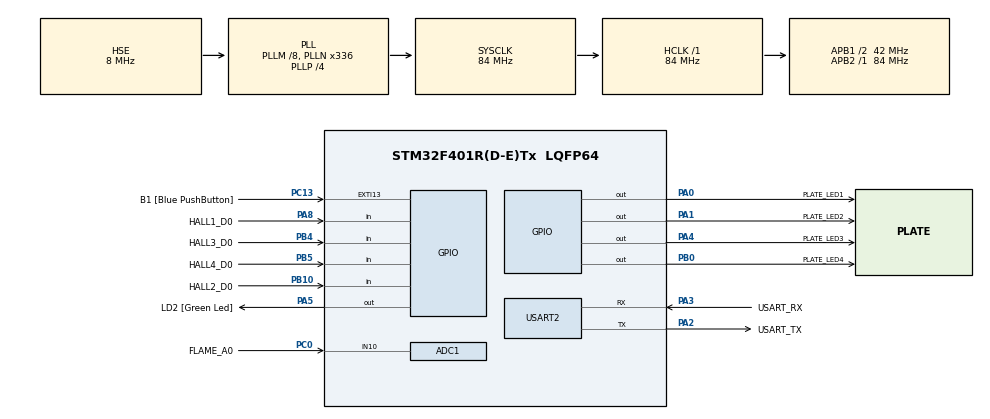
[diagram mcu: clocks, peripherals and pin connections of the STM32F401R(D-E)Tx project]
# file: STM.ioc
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ADC1.Channel-0\#ChannelRegularConversion=ADC_CHANNEL_10
ADC1.DMAContinuousRequests=ENABLE
ADC1.ExternalTrigConv=ADC_EXTERNALTRIGCONV_T2_TRGO
ADC1.NbrOfConversionFlag=1
ADC1.Rank-0\#ChannelRegularConversion=1
ADC1.SamplingTime-0\#ChannelRegularConversion=ADC_SAMPLETIME_480CYCLES
ADC1.master=1
Dma.ADC1.0.Direction=DMA_PERIPH_TO_MEMORY
Dma.ADC1.0.FIFOMode=DMA_FIFOMODE_DISABLE
Dma.ADC1.0.Instance=DMA2_Stream0
Dma.ADC1.0.MemDataAlignment=DMA_MDATAALIGN_HALFWORD
Dma.ADC1.0.MemInc=DMA_MINC_ENABLE
Dma.ADC1.0.Mode=DMA_CIRCULAR
Dma.ADC1.0.PeriphDataAlignment=DMA_PDATAALIGN_HALFWORD
Dma.ADC1.0.PeriphInc=DMA_PINC_DISABLE
Dma.ADC1.0.Priority=DMA_PRIORITY_LOW
Dma.Request0=ADC1
FREERTOS.Tasks01=defaultTask,24,128,StartDefaultTask,Default,NULL,Dynamic,NULL,NULL;TaskFlameSensor,24,256,StartTaskFlameSensor,Default,NULL,Dynamic,NULL,NULL;TaskHallSensor,24,128,StartTaskHallSensor,Default,NULL,Dynamic,NULL,NULL;TaskPacketTX,24,256,StartTaskPacketTX,Default,NULL,Dynamic,NULL,NULL
FREERTOS.configUSE_NEWLIB_REENTRANT=1
Mcu.Family=STM32F4
Mcu.Name=STM32F401R(D-E)Tx
Mcu.Package=LQFP64
NVIC.ADC_IRQn=true\:5\:0\:false\:false\:true\:true\:true\:true\:true
NVIC.DMA2_Stream0_IRQn=true\:5\:0\:false\:false\:true\:true\:false\:true\:true
NVIC.PriorityGroup=NVIC_PRIORITYGROUP_4
NVIC.TIM1_UP_TIM10_IRQn=true\:15\:0\:false\:false\:true\:false\:false\:true\:true
NVIC.TIM2_IRQn=true\:5\:0\:false\:false\:true\:true\:true\:true\:true
NVIC.TimeBase=TIM1_UP_TIM10_IRQn
NVIC.TimeBaseIP=TIM1
PA0-WKUP.GPIO_Label=PLATE_LED1
PA0-WKUP.Signal=GPIO_Output
PA1.GPIO_Label=PLATE_LED2
PA1.Signal=GPIO_Output
PA13.GPIO_Label=TMS
PA13.Mode=Serial_Wire
PA13.Signal=SYS_JTMS-SWDIO
PA14.GPIO_Label=TCK
PA14.Mode=Serial_Wire
PA14.Signal=SYS_JTCK-SWCLK
PA2.GPIO_Label=USART_TX
PA2.GPIO_Mode=GPIO_MODE_AF_PP
PA2.GPIO_PuPd=GPIO_NOPULL
PA2.GPIO_Speed=GPIO_SPEED_FREQ_LOW
PA2.Mode=Asynchronous
PA2.Signal=USART2_TX
PA3.GPIO_Label=USART_RX
PA3.GPIO_Mode=GPIO_MODE_AF_PP
PA3.GPIO_PuPd=GPIO_NOPULL
PA3.GPIO_Speed=GPIO_SPEED_FREQ_LOW
PA3.Mode=Asynchronous
PA3.Signal=USART2_RX
PA4.GPIO_Label=PLATE_LED3
PA4.Signal=GPIO_Output
PA5.GPIO_Label=LD2 [Green Led]
PA5.GPIO_Mode=GPIO_MODE_OUTPUT_PP
PA5.GPIO_PuPd=GPIO_NOPULL
PA5.GPIO_Speed=GPIO_SPEED_FREQ_LOW
PA5.Signal=GPIO_Output
PA8.GPIO_Label=HALL1_D0
PA8.GPIO_PuPd=GPIO_PULLUP
PA8.Signal=GPIO_Input
PB0.GPIO_Label=PLATE_LED4
PB0.Signal=GPIO_Output
PB10.GPIO_Label=HALL2_D0
PB10.GPIO_PuPd=GPIO_PULLUP
PB10.Signal=GPIO_Input
PB3.GPIO_Label=SWO
PB3.Signal=SYS_JTDO-SWO
PB4.GPIO_Label=HALL3_D0
PB4.GPIO_PuPd=GPIO_PULLUP
PB4.Signal=GPIO_Input
PB5.GPIO_Label=HALL4_D0
PB5.GPIO_PuPd=GPIO_PULLUP
PB5.Signal=GPIO_Input
PC0.GPIO_Label=FLAME_A0
PC0.Signal=ADCx_IN10
PC13-ANTI_TAMP.GPIO_Label=B1 [Blue PushButton]
PC13-ANTI_TAMP.GPIO_ModeDefaultEXTI=GPIO_MODE_IT_FALLING
PC13-ANTI_TAMP.GPIO_PuPd=GPIO_NOPULL
PC13-ANTI_TAMP.Signal=GPXTI13
PC14-OSC32_IN.Mode=LSE-External-Oscillator
PC14-OSC32_IN.Signal=RCC_OSC32_IN
PC15-OSC32_OUT.Mode=LSE-External-Oscillator
PC15-OSC32_OUT.Signal=RCC_OSC32_OUT
PH0\ -\ OSC_IN.Mode=HSE-External-Clock-Source
PH0\ -\ OSC_IN.Signal=RCC_OSC_IN
PH1\ -\ OSC_OUT.Mode=HSE-External-Clock-Source
PH1\ -\ OSC_OUT.Signal=RCC_OSC_OUT
ProjectManager.HeapSize=0x200
ProjectManager.StackSize=0x400
ProjectManager.TargetToolchain=STM32CubeIDE
RCC.48MHZClocksFreq_Value=48000000
RCC.AHBFreq_Value=84000000
RCC.APB1CLKDivider=RCC_HCLK_DIV2
RCC.APB1Freq_Value=42000000
RCC.APB1TimFreq_Value=84000000
RCC.APB2Freq_Value=84000000
RCC.APB2TimFreq_Value=84000000
RCC.CortexFreq_Value=84000000
RCC.HCLKFreq_Value=84000000
RCC.HSE_VALUE=8000000
RCC.HSI_VALUE=16000000
RCC.PLLM=8
RCC.PLLN=336
RCC.PLLP=RCC_PLLP_DIV4
RCC.PLLQ=7
RCC.PLLSourceVirtual=RCC_PLLSOURCE_HSE
RCC.SYSCLKFreq_VALUE=84000000
RCC.SYSCLKSource=RCC_SYSCLKSOURCE_PLLCLK
RCC.VCOOutputFreq_Value=336000000
SH.ADCx_IN10.0=ADC1_IN10,IN10
TIM2.Period=1049
TIM2.Prescaler=1249
TIM2.TIM_MasterOutputTrigger=TIM_TRGO_UPDATE
USART2.VirtualMode=VM_ASYNC
VP_FREERTOS_VS_CMSIS_V2.Mode=CMSIS_V2
VP_SYS_VS_tim1.Mode=TIM1
VP_TIM2_VS_ClockSourceINT.Mode=Internal
board=NUCLEO-F401RE

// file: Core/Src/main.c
/* USER CODE BEGIN Header */
/**
  ******************************************************************************
  * @file           : main.c
  * @brief          : Main program body
  ******************************************************************************
  * @attention
  *
  * Copyright (c) 2026 STMicroelectronics.
  * All rights reserved.
  *
  * This software is licensed under terms that can be found in the LICENSE file
  * in the root directory of this software component.
  * If no LICENSE file comes with this software, it is provided AS-IS.
  *
  ******************************************************************************
  */
/* USER CODE END Header */
#include "main.h"
#include "cmsis_os.h"
#include "adc.h"
#include "dma.h"
#include "tim.h"
#include "usart.h"
#include "gpio.h"

/* USER CODE BEGIN Includes */
#include <stdio.h>
#include "arm_math.h"
#include <stdlib.h>
#include "sensor_queue.h"
#include "sensor_protocol.h"
#include "alert_command.h"
#include "lora_e22.h"
#include "lora_frame.h"
/* USER CODE END Includes */

/* USER CODE BEGIN PV */
volatile uint32_t tim2_tick_count = 0;

#define ADC_BUF_SIZE 64
uint16_t adc_buf[ADC_BUF_SIZE];
/* USER CODE END PV */

void SystemClock_Config(void);
void MX_FREERTOS_Init(void);

/* USER CODE BEGIN 0 */
int __io_putchar(int ch)
{
    HAL_UART_Transmit(&huart2, (uint8_t*)&ch, 1, HAL_MAX_DELAY);
    return ch;
}

/* Fires (from ISR context) every time the circular DMA buffer wraps, i.e.
 * once per full 1-second/64-sample window. Just signals TaskFlameSensor -
 * no heavy work here since we're in an interrupt handler. */
void HAL_ADC_ConvCpltCallback(ADC_HandleTypeDef *hadc)
{
  if (hadc->Instance == ADC1)
  {
    osSemaphoreRelease(adcBufReadySemHandle);
  }
}

/* Fires (from ISR context) on either edge of any of the 4 hall D0 pins.
 * Same shape as HAL_ADC_ConvCpltCallback above: just wake TaskHallSensor,
 * no debouncing or UART work here. Which of the 4 slots changed isn't
 * tracked -- the task re-scans all 4 on wake, same as the old poll loop
 * did every tick. */
void HAL_GPIO_EXTI_Callback(uint16_t GPIO_Pin)
{
  if (GPIO_Pin == HALL1_D0_Pin || GPIO_Pin == HALL2_D0_Pin ||
      GPIO_Pin == HALL3_D0_Pin || GPIO_Pin == HALL4_D0_Pin)
  {
    osSemaphoreRelease(hallEdgeSemHandle);
  }
}

/* Fires (from ISR context) once per received USART2 byte -- the link runs
 * one-byte-at-a-time interrupt mode (see AlertCommand_StartReceive()), not
 * DMA, since AlertCommand traffic is short and infrequent. All the actual
 * buffering/parsing is delegated to alert_command.c; this callback only
 * exists because HAL_UART_RxCpltCallback has to live somewhere, same as
 * HAL_ADC_ConvCpltCallback and HAL_GPIO_EXTI_Callback above. */
void HAL_UART_RxCpltCallback(UART_HandleTypeDef *huart)
{
  if (huart->Instance == USART2)
  {
    AlertCommand_OnByteReceived();
  }
  else if (huart->Instance == USART1)
  {
    /* LoRa 하행. 여기서는 링버퍼에 넣기만 하고, 프레임 조립과 CRC 검증은
     * StartDefaultTask 가 태스크 문맥에서 한다 -- USART2 경로가 파싱을
     * 태스크로 미루는 것과 같은 이유다. */
    LoRa_OnByteReceived();
  }
}

/* 수신 에러(주로 오버런/프레이밍)가 나면 HAL 은 수신을 중단하고 *재무장하지
 * 않는다.* 그대로 두면 그 순간부터 하행이 조용히 죽는다 -- 로그도 안 남고
 * 송신은 멀쩡해서 원인을 찾기 어렵다. 여기서 다시 걸어준다.
 *
 * 오버런은 인터럽트가 잠깐 지연되면(예: 송신 중 스케줄러 정지 구간) 실제로
 * 발생한다. 이 콜백이 없으면 몇 시간 안에 반드시 겪는다. */
void HAL_UART_ErrorCallback(UART_HandleTypeDef *huart)
{
  if (huart->Instance == USART2)
  {
    __HAL_UART_CLEAR_OREFLAG(huart);
    AlertCommand_StartReceive();
  }
  else if (huart->Instance == USART1)
  {
    __HAL_UART_CLEAR_OREFLAG(huart);
    LoRa_StartReceiveIT();
  }
}
/* USER CODE END 0 */

int main(void)
{

  /* MCU Configuration--------------------------------------------------------*/

  /* Reset of all peripherals, Initializes the Flash interface and the Systick. */
  HAL_Init();

  /* Configure the system clock */
  SystemClock_Config();

  /* Initialize all configured peripherals */
  MX_GPIO_Init();
  MX_DMA_Init();
  MX_ADC1_Init();
  MX_USART2_UART_Init();
  MX_TIM2_Init();
  /* USER CODE BEGIN 2 */
#if LORA_BURN_MODULE
  /* Pi 쪽 모듈처럼 MCU 없이 동작할 모듈을 준비하는 전용 모드.
   * 굽고 확인한 뒤 여기서 멈춘다 -- 센서 노드로 동작하지 않으므로 이 모드를
   * 켜둔 채 잊어버려도 바로 알아차릴 수 있다. */
  LoRa_Init();
  printf("\r\n");
  printf("##################################################\r\n");
  printf("#  LORA BURN MODE -- 센서 동작 안 함              \r\n");
  printf("#  주소 0x%04X / NETID 0x%02X                     \r\n",
         (unsigned)LORA_BURN_ADDRESS, (unsigned)LORA_BURN_NETID);
  printf("#  ch=%u / 10dBm / LBT on / 62.5k / 115200        \r\n",
         (unsigned)LORA_CH_DATA_DEFAULT);
  printf("#  C0(영구 저장) -- 전원 끊어도 유지됨            \r\n");
  printf("##################################################\r\n");

  {
    HAL_StatusTypeDef burn_st = LoRa_BurnModule(LORA_BURN_ADDRESS, LORA_BURN_NETID);

    if (burn_st == HAL_OK)
    {
      printf("\r\n[burn] 완료. 되읽기 대조까지 통과했습니다.\r\n");
      LoRa_SelfTest();   /* 최종 상태를 디코드해서 한 번 더 남긴다 */
      printf("\r\n이 모듈을 대상 보드로 옮기고, LORA_BURN_MODULE 을 0 으로\r\n");
      printf("되돌린 뒤 재빌드하세요.\r\n");
    }
    else
    {
      printf("\r\n[burn] 실패. 모듈을 옮기지 마세요.\r\n");
      printf("배선(모듈TXD->PA10 / 모듈RXD->PA9 / M0->PC7 / M1->PB6 / AUX->PA7 / 3V3 / GND) 확인 후 재시도.\r\n");
    }

    /* 센서 동작으로 넘어가지 않는다. LED 로 결과를 표시하며 정지:
     * 느린 깜빡임 = 성공, 빠른 깜빡임 = 실패. */
    for (;;)
    {
      HAL_GPIO_TogglePin(LD2_GPIO_Port, LD2_Pin);
      HAL_Delay((burn_st == HAL_OK) ? 1000 : 150);
    }
  }
#endif

  /* 빌드 배너.
   *
   * 플래시가 실제로 새 빌드로 갈렸는지 로그만 보고는 알 수 없어서, 옛 펌웨어를
   * 돌리며 "왜 새 기능이 안 보이지" 를 몇 번 반복했다. 부팅할 때마다 빌드
   * 시각과 켜져 있는 기능을 찍어두면 그 혼선이 사라진다. */
  printf("\r\n======================================================\r\n");
  /* 보드 이름은 하드코딩하지 않는다. STM1/STM2 펌웨어가 같은 코드라
   * 여기가 고정이면 두 보드가 똑같은 이름으로 찍혀서, 어느 쪽 로그를 보고
   * 있는지 헷갈린다. 콘솔이 두 개 열려 있을 때 특히 위험하다. */
  printf("# %s  build %s %s\r\n", SENSOR_NODE_ID, __DATE__, __TIME__);
  printf("# payload v1.1 (frame ver 0x%02X) / node %s\r\n",
         (unsigned)LORA_FRAME_VERSION, SENSOR_NODE_ID);
  printf("# TX  uart=%d lora=%d   LoRa ch=%u pwr=10dBm lbt=%d\r\n",
         SENSOR_TX_UART, SENSOR_TX_LORA,
         (unsigned)LORA_CH_DATA_DEFAULT, LORA_LBT_ENABLE);
  printf("# 홀 쿨다운 %lums / 화재 텔레메트리 %lums\r\n",
         (unsigned long)SENSOR_HALL_COOLDOWN_MS,
         (unsigned long)SENSOR_FLAME_TELEMETRY_MS);
  printf("======================================================\r\n");

#if SENSOR_TX_LORA
  /* USART1(PA9/PA10)과 M0/M1/AUX(PC7/PB6/PA7) 초기화를 드라이버가 직접 하므로
   * .ioc 를 건드리지 않는다 -- CubeMX 재생성에도 안전하다.
   * 채널/출력/LBT 는 C0 명령으로 모듈에 영구 저장되어 있지만, 다른 모듈로
   * 교체했을 때를 대비해 부팅할 때마다 한 번 더 맞춰준다.
   * 주의: LoRa_SelfTest()/LoRa_Diag() 는 printf 로 USART2 에 찍는데 그건
   * Pi 데이터 링크라 프로토콜을 오염시킨다. 브링업 때만 임시로 켤 것. */
  LoRa_Init();
  /* persist=false(C2) 로 매 부팅마다 맞춘다. C0 는 모듈 플래시에 쓰는 거라
   * 부팅마다 때리면 수명을 깎는다. STM32 가 붙어 있는 쪽은 어차피 매번
   * 설정하므로 임시 저장으로 충분하다.
   * !! Pi 쪽 모듈은 MCU 가 없어서 스스로 설정하지 못한다. 그 모듈은 이
   *    보드에 잠깐 물려서 persist=true 로 한 번 구워서 넘겨야 한다. */
  {
    HAL_StatusTypeDef lora_st =
        /* LBT 는 KC 기술기준 항목이라 켜둔다. 브링업 중 링크가 안 붙을 때
         * 잠깐 false 로 내려 원인에서 배제하는 데 썼는데, 진단이 끝났으므로
         * 되돌렸다. LBT 가 송신을 미뤄도 STM32 에 알려주지는 않으므로,
         * "LORA OK" 는 UART 로 넘겼다는 뜻이지 전파가 나갔다는 보장은 아니다. */
        LoRa_ConfigureFull(LORA_CH_DATA_DEFAULT, LORA_PWR_10DBM, LORA_LBT_ENABLE,
                           LORA_AIR_PROJECT, LORA_UART_PROJECT, false);
    /* 이 두 줄은 디버그 플래그와 무관하게 항상 찍는다.
     *
     * 설정 확인에 실패하면 전파법 인터록이 송신을 전부 막는데, 그때 수신은
     * 계속 된다 -- 모듈이 저장된 설정으로 동작하기 때문이다. 그래서 겉보기엔
     * "명령은 받는데 갑자기 송신만 안 되는" 상태가 되고, 로그가 없으면
     * 원인을 짚을 수가 없다. 실제로 그 상황을 겪었다.
     *
     * 부팅 때 한 번 나가는 몇 줄이라 비용이 없다. */
    printf("\r\n# LORA CFG %s (ch=%u pwr=10dBm lbt=%d air=62.5k uart=115200)\r\n",
           (lora_st == HAL_OK) ? "OK" : "FAIL -- 송신 차단됨(인터록)",
           (unsigned)LORA_CH_DATA_DEFAULT, LORA_LBT_ENABLE);
    if (lora_st == HAL_OK) { LoRa_DumpRegisters(); }

    /* AUX 상태. 설정이 멀쩡한데 송신만 안 될 때 남은 후보가 이것이다.
     *
     * AUX 가 GND 로 눌려 있으면 모듈이 영원히 "바쁨" 으로 읽혀서, 매 송신마다
     * LoRa_WaitAuxIdle() 이 타임아웃(2초)을 다 쓰고 나간다. 로그상 송신은
     * 시도되는데 실제로는 거의 안 나가는 것처럼 보인다.
     *
     * 지금 레벨이 LOW 인데 모듈이 idle 이어야 할 상황이면 배선을 의심할 것.
     * detected=no 는 배선이 아예 안 붙었다는 뜻이고, 그 경우는 풀업 덕분에
     * 항상 HIGH 로 읽혀 동작에는 지장이 없다. */
    printf("# LORA AUX: level=%s  detected=%s  (PA7/D11)\r\n",
           (HAL_GPIO_ReadPin(LORA_AUX_GPIO_Port, LORA_AUX_Pin) == GPIO_PIN_SET)
               ? "HIGH(idle)" : "LOW(busy)",
           LoRa_AuxDetected() ? "yes" : "no");

#if LORA_DEBUG_HEX
    if (lora_st == HAL_OK) { LoRa_CheckNormalMode(); }
#endif
    if (lora_st != HAL_OK)
    {
      /* 설정이 안 먹었으면 어디서 막혔는지 자동으로 훑는다. 라인 프로브 ->
       * 단락 검사 -> baud 스윕 -> USART 우회 비트뱅잉 순서. 지그에서 E22 를
       * E220 으로 착각해 딥슬립에 빠뜨렸던 그 상황을 잡으려고 만든 루틴이다. */
      LoRa_SelfTest();
      LoRa_CheckNormalMode();
      LoRa_DetectVariant();
      LoRa_Diag();
    }
  }
#endif
  /* USER CODE END 2 */

  /* Init scheduler */
  osKernelInitialize();  /* Call init function for freertos objects (in freertos.c) */
  MX_FREERTOS_Init();

  /* USER CODE BEGIN RTOS_PERIPH_START */
  /* adcBufReadySemHandle must exist before conversions can start firing the callback */
  HAL_TIM_Base_Start_IT(&htim2);
  HAL_ADC_Start_DMA(&hadc1, (uint32_t*)adc_buf, ADC_BUF_SIZE);
  /* AlertCommand_Init() (freertos.c, RTOS_TIMERS above) already created the
   * semaphore/timers a received line needs, so it's safe to start taking
   * bytes now. */
  /* 태스크/큐/타이머가 전부 만들어진 뒤라야 힙 사용량이 의미가 있다.
   * 배너(위 USER CODE 2)에서 찍으면 아직 할당이 한 번도 없어 heap_4 가
   * 초기화되기 전이라 항상 0 이 나온다 -- 실제로 그걸로 한 번 오해했다. */
  printf("# FreeRTOS 힙 여유 %u / %u B (태스크 생성 후)\r\n",
         (unsigned)xPortGetFreeHeapSize(), (unsigned)configTOTAL_HEAP_SIZE);

  AlertCommand_StartReceive();

#if SENSOR_TX_LORA
  /* LoRa 인터럽트 수신 시작.
   *
   * 반드시 LoRa_ConfigureFull() 이 끝난 뒤여야 한다. 설정 모드는 블로킹
   * 수신(HAL_UART_Receive)을 쓰는데, 인터럽트 수신이 먼저 걸려 있으면
   * 같은 UART 를 두 방식이 다투게 되어 레지스터 응답을 놓친다.
   *
   * 이후로 STM1 은 항상 듣는 상태가 된다 -- Pi 가 언제 명령을 보내도
   * 받는다. 조립/CRC 검증은 StartDefaultTask 가 태스크 문맥에서 한다. */
  LoRa_StartReceiveIT();
#endif
  /* USER CODE END RTOS_PERIPH_START */

  /* Start scheduler */
  osKernelStart();

  /* We should never get here as control is now taken by the scheduler */
  /* Infinite loop */
  while (1)
  {

  }
}

void SystemClock_Config(void)
{
  RCC_OscInitTypeDef RCC_OscInitStruct = {0};
  RCC_ClkInitTypeDef RCC_ClkInitStruct = {0};

  /** Configure the main internal regulator output voltage
  */
  __HAL_RCC_PWR_CLK_ENABLE();
  __HAL_PWR_VOLTAGESCALING_CONFIG(PWR_REGULATOR_VOLTAGE_SCALE2);

  /** Initializes the RCC Oscillators according to the specified parameters
  * in the RCC_OscInitTypeDef structure.
  */
  /* BYPASS not Crystal: on this Nucleo board HSE comes from the ST-Link's
   * 8MHz MCO into PH0, there's no resonator on OSC_IN/OSC_OUT.
   * PLLM=8 -> 8MHz/8=1MHz VCO input, same as before; PLLN/PLLP unchanged so
   * SYSCLK is still 84MHz and TIM2's 64Hz math doesn't need to change. */
  RCC_OscInitStruct.OscillatorType = RCC_OSCILLATORTYPE_HSE;
  RCC_OscInitStruct.HSEState = RCC_HSE_BYPASS;
  RCC_OscInitStruct.PLL.PLLState = RCC_PLL_ON;
  RCC_OscInitStruct.PLL.PLLSource = RCC_PLLSOURCE_HSE;
  RCC_OscInitStruct.PLL.PLLM = 8;
  RCC_OscInitStruct.PLL.PLLN = 336;
  RCC_OscInitStruct.PLL.PLLP = RCC_PLLP_DIV4;
  RCC_OscInitStruct.PLL.PLLQ = 7;
  if (HAL_RCC_OscConfig(&RCC_OscInitStruct) != HAL_OK)
  {
    Error_Handler();
  }

  /** Initializes the CPU, AHB and APB buses clocks
  */
  RCC_ClkInitStruct.ClockType = RCC_CLOCKTYPE_HCLK|RCC_CLOCKTYPE_SYSCLK
                              |RCC_CLOCKTYPE_PCLK1|RCC_CLOCKTYPE_PCLK2;
  RCC_ClkInitStruct.SYSCLKSource = RCC_SYSCLKSOURCE_PLLCLK;
  RCC_ClkInitStruct.AHBCLKDivider = RCC_SYSCLK_DIV1;
  RCC_ClkInitStruct.APB1CLKDivider = RCC_HCLK_DIV2;
  RCC_ClkInitStruct.APB2CLKDivider = RCC_HCLK_DIV1;

  if (HAL_RCC_ClockConfig(&RCC_ClkInitStruct, FLASH_LATENCY_2) != HAL_OK)
  {
    Error_Handler();
  }
}

void HAL_TIM_PeriodElapsedCallback(TIM_HandleTypeDef *htim)
{
  if (htim->Instance == TIM1) {
    HAL_IncTick();
  }
  /* USER CODE BEGIN Callback 1 */
  if (htim->Instance == TIM2)
  {
      tim2_tick_count++;
  }
  /* USER CODE END Callback 1 */
}

void Error_Handler(void)
{
  __disable_irq();
  while (1)
  {
  }
}

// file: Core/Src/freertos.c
/* USER CODE BEGIN Header */
/**
  ******************************************************************************
  * File Name          : freertos.c
  * Description        : Code for freertos applications
  ******************************************************************************
  * @attention
  *
  * Copyright (c) 2026 STMicroelectronics.
  * All rights reserved.
  *
  * This software is licensed under terms that can be found in the LICENSE file
  * in the root directory of this software component.
  * If no LICENSE file comes with this software, it is provided AS-IS.
  *
  ******************************************************************************
  */
/* USER CODE END Header */

#include "FreeRTOS.h"
#include "task.h"
#include "main.h"
#include "cmsis_os.h"

/* USER CODE BEGIN Includes */
#include <stdio.h>
#include "arm_math.h"
#include "arm_const_structs.h"
#include "sensor_queue.h"
#include "sensor_protocol.h"
#include "alert_command.h"
#include "lora_e22.h"
#include "lora_frame.h"
#include "usart.h"    /* huart2 -- vApplicationStackOverflowHook */
#include <string.h>
/* USER CODE END Includes */

/* USER CODE BEGIN Variables */
extern volatile uint32_t tim2_tick_count;
extern uint16_t adc_buf[64];

/* Shared mailbox: TaskHallSensor/TaskFlameSensor push SensorEvent_t here,
 * TaskPacketTX pops and sends them over UART. One queue instead of a
 * mutex-protected struct so producers/consumer stay naturally serialized. */
osMessageQueueId_t sensorEventQueueHandle;
const osMessageQueueAttr_t sensorEventQueue_attributes = {
  .name = "sensorEventQueue"
};

/* Released by HAL_ADC_ConvCpltCallback (main.c) each time the circular DMA
 * buffer finishes one full 1-second window, so TaskFlameSensor knows when
 * adc_buf is safe to read without racing the next DMA write. */
osSemaphoreId_t adcBufReadySemHandle;
const osSemaphoreAttr_t adcBufReadySem_attributes = {
  .name = "adcBufReadySem"
};

/* Released by HAL_GPIO_EXTI_Callback (main.c) on either edge of any of the
 * 4 hall D0 pins, so TaskHallSensor can block instead of polling every
 * 50ms -- same shape as adcBufReadySemHandle above. */
osSemaphoreId_t hallEdgeSemHandle;
const osSemaphoreAttr_t hallEdgeSem_attributes = {
  .name = "hallEdgeSem"
};

/* Hall debounce state, kept at file scope (was local to
 * StartTaskHallSensor) so the confirmed value and the last-reported value
 * can be compared across wakes. */
static uint8_t hall_debounced_state[SENSOR_HALL_COUNT] = {0};
static uint8_t hall_candidate_state[SENSOR_HALL_COUNT] = {0};
static uint32_t hall_stable_count[SENSOR_HALL_COUNT] = {0};
/* Last state actually put on the wire per slot -- lets TaskHallSensor emit
 * only on a confirmed change instead of a fixed cadence, same as
 * TaskFlameSensor's last_verdict. */
static uint8_t hall_last_reported_state[SENSOR_HALL_COUNT] = {0};

/* 채널별 쿨다운 상태 (SENSOR_HALL_COOLDOWN_MS).
 *
 * 첫 변화는 즉시 나가고, 그 뒤 쿨다운 동안 생긴 변화는 버리지 않고 pending
 * 으로 표시만 해둔다. 쿨다운이 끝나면 그때의 *최신* 상태를 한 번 보낸다.
 * 그래서 채터링이 나도 프레임 수가 늘지 않고, 수신측 상태는 늦어도 쿨다운
 * 시간 안에 반드시 맞아진다.
 *
 * 이게 없으면 채터링 시 duty 리미터가 프레임을 버리는데, 버려진 게 상태
 * 변화면 수신측은 다음 하트비트(SENSOR_HEARTBEAT_MS)까지 틀린 상태를 든다. */
static uint32_t hall_last_sent_tick[SENSOR_HALL_COUNT] = {0};
static uint8_t  hall_sent_once[SENSOR_HALL_COUNT] = {0};
static uint8_t  hall_pending[SENSOR_HALL_COUNT] = {0};

/* Fires every 30s regardless of GPIO activity: resends whatever
 * hall_debounced_state currently holds, purely as a liveness signal. Edge
 * changes are still reported instantly by TaskHallSensor above -- this
 * timer exists only so the Pi side can tell "nothing changed in a while"
 * apart from "the STM32/UART link died", which pure on-change reporting
 * can't distinguish. The Pi's duplicate/stale-sequence guard already
 * treats repeats as safe, so re-sending unchanged state here is fine. */
osTimerId_t hallHeartbeatTimerHandle;
const osTimerAttr_t hallHeartbeatTimer_attributes = {
  .name = "hallHeartbeatTimer"
};

/* Last verdict actually put on the wire by TaskFlameSensor, and whether the
 * boot-time baseline/first verdict has been recorded yet. Moved out of
 * StartTaskFlameSensor's locals (was last_verdict/verdict_seeded) so
 * FlameHeartbeatTimerCallback below can read the current value too. */
static uint8_t flame_last_verdict = 0;
static uint8_t flame_verdict_seeded = 0;
/* 마지막으로 계산한 1~20Hz 대역 에너지. v1.1 부터 전선에 실려 나가므로
 * 하트비트/텔레메트리에서도 이 값을 쓴다. */
static float   flame_last_energy = 0.0f;

/* Same idea as hallHeartbeatTimerHandle: every 30s, resend the last flame
 * verdict regardless of change, purely as a liveness signal. Actual
 * ALERT/CLEAR transitions are still reported instantly by
 * TaskFlameSensor. Guarded on flame_verdict_seeded so it can't fire before
 * the boot baseline is established (see FLAME_SETTLE_WINDOWS below). */
osTimerId_t flameHeartbeatTimerHandle;
const osTimerAttr_t flameHeartbeatTimer_attributes = {
  .name = "flameHeartbeatTimer"
};
/* USER CODE END Variables */
/* Definitions for defaultTask */
osThreadId_t defaultTaskHandle;
const osThreadAttr_t defaultTask_attributes = {
  .name = "defaultTask",
  /* LoRa 하행 펌프 + 진단 printf 가 여기서 돈다. 128*4(512B)로는 printf
   * 하나에 스택이 넘친다 -- newlib 의 포맷 파싱만으로 200~300B 를 쓴다.
   * 넘치면 vApplicationStackOverflowHook -> Error_Handler() 무한루프라
   * 로그가 뚝 끊기고 원인이 안 보인다. 실제로 그 증상을 겪었다. */
  .stack_size = 512 * 4,
  .priority = (osPriority_t) osPriorityNormal,
};
/* Definitions for TaskFlameSensor */
osThreadId_t TaskFlameSensorHandle;
const osThreadAttr_t TaskFlameSensor_attributes = {
  .name = "TaskFlameSensor",
  .stack_size = 512 * 4, /* FFT buffers alone use ~700B of stack (see .su); 256*4 left almost no margin */
  .priority = (osPriority_t) osPriorityNormal,
};
/* Definitions for TaskHallSensor */
osThreadId_t TaskHallSensorHandle;
const osThreadAttr_t TaskHallSensor_attributes = {
  .name = "TaskHallSensor",
  .stack_size = 128 * 4,
  .priority = (osPriority_t) osPriorityNormal,
};
/* Definitions for TaskPacketTX */
osThreadId_t TaskPacketTXHandle;
const osThreadAttr_t TaskPacketTX_attributes = {
  .name = "TaskPacketTX",
  .stack_size = 256 * 4,
  .priority = (osPriority_t) osPriorityNormal,
};
/* Definitions for TaskCommandRX (EVDA-194: receives the Pi's plate-LED
 * AlertCommand lines, see alert_command.c). Stack is small on purpose --
 * AlertCommand_Task() only does short string parsing and a couple of HAL/
 * RTOS calls per wake, nothing like TaskFlameSensor's FFT buffers. */
osThreadId_t TaskCommandRXHandle;
const osThreadAttr_t TaskCommandRX_attributes = {
  .name = "TaskCommandRX",
  /* 원래는 짧은 문자열 파싱 + HAL/RTOS 호출 몇 개뿐이라 128*4 로 충분했는데,
   * 명령 수락/거부 진단 로그(printf)가 붙으면서 부족해졌다. defaultTask 와
   * 같은 이유다 -- 위 주석 참고. */
  .stack_size = 384 * 4,
  .priority = (osPriority_t) osPriorityNormal,
};

/* USER CODE BEGIN FunctionPrototypes */
static void HallHeartbeatTimerCallback(void *argument);
static void FlameHeartbeatTimerCallback(void *argument);
static void HallEmitIfAllowed(uint8_t ch);
/* USER CODE END FunctionPrototypes */

void StartDefaultTask(void *argument);
void StartTaskFlameSensor(void *argument);
void StartTaskHallSensor(void *argument);
void StartTaskPacketTX(void *argument);
void StartTaskCommandRX(void *argument);

void MX_FREERTOS_Init(void); /* (MISRA C 2004 rule 8.1) */

void MX_FREERTOS_Init(void) {

  /* USER CODE BEGIN RTOS_SEMAPHORES */
  adcBufReadySemHandle = osSemaphoreNew(1, 0, &adcBufReadySem_attributes);
  hallEdgeSemHandle = osSemaphoreNew(1, 0, &hallEdgeSem_attributes);
  /* USER CODE END RTOS_SEMAPHORES */

  /* USER CODE BEGIN RTOS_TIMERS */
  hallHeartbeatTimerHandle = osTimerNew(HallHeartbeatTimerCallback, osTimerPeriodic, NULL, &hallHeartbeatTimer_attributes);
  /* 시작은 StartDefaultTask 에서 한다. 노드별로 반 주기 어긋내야 하는데
   * 여기는 스케줄러가 아직 안 돌아서 osDelay 를 쓸 수 없다. */

#if SENSOR_HAS_FLAME
  flameHeartbeatTimerHandle = osTimerNew(FlameHeartbeatTimerCallback, osTimerPeriodic, NULL, &flameHeartbeatTimer_attributes);
  /* 5초 주기로 돌지만 CLEARED 상태에서는 SENSOR_HEARTBEAT_MS 마다만 보낸다.
   * DETECTED 인 동안에만 5초 간격 텔레메트리가 된다 -- 콜백 주석 참고. */
  osTimerStart(flameHeartbeatTimerHandle, SENSOR_FLAME_TELEMETRY_MS);
#endif

  /* Creates the line-ready semaphore and the 4 per-LED failsafe one-shot
   * timers. Grouped here (not a separate RTOS_SEMAPHORES entry) because
   * AlertCommand owns both and creates them together; see alert_command.c.
   * Must run before AlertCommand_StartReceive() (main.c,
   * RTOS_PERIPH_START) so a line can never arrive before these objects
   * exist. */
  AlertCommand_Init();
  /* USER CODE END RTOS_TIMERS */

  /* USER CODE BEGIN RTOS_QUEUES */
  sensorEventQueueHandle = osMessageQueueNew(8, sizeof(SensorEvent_t), &sensorEventQueue_attributes);
  /* USER CODE END RTOS_QUEUES */

  /* NOTE: CubeMX 2.2.0 has a recurring bug where regenerating FreeRTOS code
   * wipes the 4 osThreadNew(...) calls below and replaces them with an empty
   * header comment block. If you regenerate from the .ioc, check this
   * function and restore these lines if they're missing. */
  /* Create the thread(s) */
  defaultTaskHandle = osThreadNew(StartDefaultTask, NULL, &defaultTask_attributes);
#if SENSOR_HAS_FLAME
  /* 화재센서가 없는 보드(STM2)에서는 태스크를 아예 만들지 않는다. FFT 버퍼
   * 때문에 스택이 2KB라, 안 쓰면서 잡아두면 힙만 축낸다. */
  TaskFlameSensorHandle = osThreadNew(StartTaskFlameSensor, NULL, &TaskFlameSensor_attributes);
#endif
  TaskHallSensorHandle = osThreadNew(StartTaskHallSensor, NULL, &TaskHallSensor_attributes);
  TaskPacketTXHandle = osThreadNew(StartTaskPacketTX, NULL, &TaskPacketTX_attributes);
  TaskCommandRXHandle = osThreadNew(StartTaskCommandRX, NULL, &TaskCommandRX_attributes);

}

void StartDefaultTask(void *argument)
{
  /* USER CODE BEGIN StartDefaultTask */
  /* 홀 하트비트 타이머는 여기서 건다.
   *
   * 두 보드를 같이 켜면 하트비트가 정렬돼서 매 주기 같은 시점에 충돌한다.
   * LoRa 는 half-duplex 라 그러면 한쪽이 계속 지는 형태가 될 수 있고,
   * 그건 확률적 충돌보다 나쁘다 -- 특정 노드만 만성적으로 유실된다.
   * 노드별로 반 주기 어긋내면 그 상황이 구조적으로 안 생긴다.
   *
   * MX_FREERTOS_Init 에서 못 하는 이유는 그 시점에 스케줄러가 아직
   * 시작되지 않아 osDelay 가 동작하지 않기 때문이다. */
#if SENSOR_HEARTBEAT_STAGGER_MS > 0
  osDelay(SENSOR_HEARTBEAT_STAGGER_MS);
#endif
  osTimerStart(hallHeartbeatTimerHandle, SENSOR_HEARTBEAT_MS);

#if SENSOR_TX_LORA
  /* LoRa 하행 펌프.
   *
   * USART1 인터럽트가 바이트를 링버퍼에 넣고(lora_e22.c), 여기서 꺼내
   * 프레임으로 조립한다. CRC 까지 통과한 payload 만 명령 파서로 넘긴다.
   *
   * 예전에는 이 자리에서 LoRa_Recv() 블로킹 폴링을 돌렸는데, 그건 부르는
   * 동안에만 듣는 구조라 호출 사이에 온 바이트가 사라졌고(Pi PING 5개 중
   * 2개 유실) yield 도 하지 않아 CPU 를 계속 태웠다. 이제는 ISR 이 항상
   * 듣고 있으므로 여기서는 10ms 마다 훑기만 하면 된다 -- 명령 지연으로는
   * 무시할 수준이고, 그 사이 도착분은 링버퍼가 받아둔다.
   *
   * 명령 파서는 USART2 경로와 공유한다(alert_command.c). 즉 Pi 는 LoRa 로,
   * 사람은 PuTTY 로 같은 명령을 넣을 수 있다. */
  static char lora_line[LORA_FRAME_MAX_PAYLOAD + 1];
  for (;;)
  {
    uint8_t  type = 0;
    uint32_t seq = 0;
    uint16_t n = LoRaFrame_Poll(lora_line, sizeof(lora_line), &type, &seq);

    if (n == 0)
    {
      /* 수신이 꺼져 있으면 되살린다. 정상일 때는 아무 일도 안 한다. */
      if (LoRa_EnsureReceiving())
      {
        printf("# [%8lu] LORA RX 재무장 (누적 %lu회, 링버퍼 유실 %lu B)\r\n",
               (unsigned long)HAL_GetTick(),
               (unsigned long)LoRa_GetRxRearmCount(),
               (unsigned long)LoRa_GetRxOverrunCount());
      }
      osDelay(10);
      continue;
    }

#if LORA_DEBUG_RX
    printf("# [%8lu] LORA RX type=0x%02X seq=%lu: %s\r\n",
           (unsigned long)HAL_GetTick(), (unsigned)type,
           (unsigned long)seq, lora_line);
#endif

    /* 알 수 없는 줄은 파서가 조용히 무시하므로 타입으로 미리 거르지 않는다.
     * 그래야 Pi 쪽에서 형식을 바꿔도 로그로는 보인다. */
    AlertCommand_SubmitLine(lora_line, n);
  }
#else
  /* Infinite loop */
  for(;;)
  {
    osDelay(1000);
  }
#endif
  /* USER CODE END StartDefaultTask */
}

void StartTaskFlameSensor(void *argument)
{
  /* USER CODE BEGIN StartTaskFlameSensor */
  /* 64 samples @ 64Hz = 1 second window -> 1Hz per FFT bin, matching the
   * 1~20Hz flame-flicker band we care about. */
  #define FFT_SIZE 64
  /* 화재 판정: raw DC 절대 임계 하나.
   *
   * 적응형 baseline 방식을 버렸다. 두 번 실패했다:
   *   1) 부팅 때 한 번 잡고 고정 -- 주변광이 그 뒤로 달라지면 영구 오검출
   *   2) 깨끗한 창에서만 추종  -- 임계를 한번 넘으면 추종이 멈춰 스스로
   *      빠져나올 수 없다. 실측에서 부팅 약 60초 뒤 DETECTED 로 잠겼고
   *      돌아오지 않았다(2026-08-28 로그).
   *
   * ★ 근본 원인은 판정 방식이 아니라 낡은 기준값이었다.
   *
   *   ambient (2026-07-30 문서)     46 ~   69
   *   ambient (2026-08-28 실측)   1220 ~ 1401
   *
   * 20배 차이다. 센서 감도(VR1)나 설치 환경이 그 사이에 달라졌다.
   * FLAME_DELTA_THRESHOLD 300 은 ambient 46~69 일 때 드리프트의 13배로
   * 잡은 값인데, ambient 가 1300 이고 자체 변동폭이 180 인 지금은 baseline
   * 이 낮은 쪽에 걸리기만 해도 정상 변동만으로 300 을 넘는다. 부팅 60초 뒤
   * 잠긴 원인이 이것이다. FLAME_ENERGY_THRESHOLD 5.0 도 마찬가지로,
   * 같은 로그에서 주변 상태의 energy 가 9.28 까지 튀어 이미 넘고 있었다.
   *
   * 2500 의 근거 (2026-08-28 실측, 90초 무화재 구간):
   *
   *   주변광 최대      1401
   *   주변광 변동폭     180
   *   임계까지 여유    1099   (주변광의 1.78배, 변동폭의 6배)
   *   라이터 근접      4095   (ADC 포화)
   *
   * !! 이 값은 "라이터를 센서 코앞에 대는" 시험 조건 기준이다. 거리를 두거나
   *    약한 불꽃을 잡아야 하면 다시 정해야 한다. 그리고 설치 환경이나 VR1 을
   *    건드리면 주변광이 통째로 달라지므로 반드시 재측정할 것 --
   *    FLAME_DEBUG_ENERGY 를 켜면 매 창의 raw 가 그대로 찍힌다. */
  #define FLAME_RAW_THRESHOLD 2500.0f
  /* Real flame flicker is chaotic, not a clean steady oscillation -- a small
   * lighter flame can have individual 1-second windows that happen to land
   * calm and read near baseline even while genuinely burning. A strict
   * "N consecutive windows" debounce keeps getting reset by those calm
   * windows and flaps ALERT/CLEAR. A sliding K-of-N majority vote tolerates
   * a few low windows mixed in without losing the detection. */
  #define FLAME_VOTE_WINDOW 5    /* look at the last 5 one-second windows */
  /* 진입/해제 문턱을 나눈다 -- 히스테리시스.
   *
   * 양쪽 다 같은 값이면 신호가 임계 근처에 걸쳤을 때 vote_count 가 오르내리며
   * 매 초 판정이 뒤집히고 DETECTED/CLEARED 가 반복해서 나간다. 화재는 엣지
   * 전송이라 그 진동이 그대로 전파를 먹는다(EVDA-124 로 DETECTED 는
   * 3프레임씩 나간다).
   *
   * 진입 3/5 = 감지까지 3초. 주변광 최대 1401 에 임계가 2500 이라 3창이
   * 연속으로 임계를 넘으려면 실제 불꽃밖에 없다. 실측 불꽃은 4083~4092 로
   * 포화되므로 3창을 못 채울 일도 없다.
   *
   * 해제는 1/5 이하로 더 엄격하게 둔다. 불이 흔들려 한두 창이 낮게 나와도
   * CLEARED 로 새면 안 된다. 실측에서 불을 뗀 뒤 4초에 해제됐다. */
  #define FLAME_VOTE_ENTER 3     /* CLEARED -> DETECTED : 5창 중 3 이상 */
  #define FLAME_VOTE_EXIT  2     /* DETECTED -> CLEARED : 5창 중 1 이하 */

  arm_rfft_fast_instance_f32 fft_inst;
  float32_t input_buf[FFT_SIZE];
  float32_t output_buf[FFT_SIZE];
  float32_t mag_buf[FFT_SIZE / 2];

  uint8_t vote_history[FLAME_VOTE_WINDOW] = {0}; /* raw_verdict of the last N windows */
  uint8_t vote_index = 0;
  uint8_t vote_count = 0; /* running count of 1s currently in vote_history */

  /* 부팅 직후 몇 창은 버린다. 전원 인가 직후에는 센서 출력과 ADC/DMA 가
   * 아직 안정되지 않아 엉뚱한 값이 나올 수 있다. 고정 임계라 낮게 읽히는
   * 건 CLEARED 라 무해하지만, 높게 읽히면 그대로 오검출이 된다. */
  #define FLAME_SETTLE_WINDOWS 3

  uint32_t window_count = 0;

  /* arm_rfft_fast_init_f32(&fft_inst, FFT_SIZE) 를 쓰지 않고 인스턴스를
   * 직접 채운다. 동작은 완전히 같고, 플래시를 78.6KB 아낀다.
   *
   * 그 함수는 Sint->fftLen(= FFT_SIZE/2) 으로 switch 를 돌면서 지원하는
   * 모든 길이의 테이블을 참조한다. 분기 하나만 실행되지만 참조는 전부
   * 남으므로 -ffunction-sections/--gc-sections 로도 못 버린다. 64포인트만
   * 쓰는데 4096포인트까지의 twiddle 이 통째로 링크됐다:
   *
   *     FFT 테이블 총합   78,936 B   (텍스트 132,520 B 의 59.6%)
   *     실제 필요분          608 B
   *
   * 아래는 그 switch 의 case 32U 가 채우는 값과 필드 단위로 동일하다
   * (Sint->fftLen = FFT_SIZE/2 = 32 이므로 그 분기가 선택된다):
   *
   *     Sint.fftLen        32
   *     Sint.pTwiddle      twiddleCoef_32
   *     Sint.pBitRevTable  armBitRevIndexTable32
   *     Sint.bitRevLength  ARMBITREVINDEXTABLE_32_TABLE_LENGTH
   *     fftLenRFFT         64
   *     pTwiddleRFFT       twiddleCoef_rfft_64
   *
   * arm_cfft_sR_f32_len32 (arm_const_structs.c) 가 앞의 네 필드를 그대로
   * 들고 있어서 대입 한 번이면 된다.
   *
   * !! FFT_SIZE 를 바꾸면 아래 두 상수도 같이 바꿔야 한다 --
   *    arm_cfft_sR_f32_len<FFT_SIZE/2> 와 twiddleCoef_rfft_<FFT_SIZE>. */
  fft_inst.Sint = arm_cfft_sR_f32_len32;
  fft_inst.Sint.fftLen = FFT_SIZE / 2;
  fft_inst.fftLenRFFT = FFT_SIZE;
  fft_inst.pTwiddleRFFT = (float32_t *)twiddleCoef_rfft_64;

  for (;;)
  {
    /* Blocks here until main.c's ADC callback signals one full window is ready. */
    osSemaphoreAcquire(adcBufReadySemHandle, osWaitForever);

    /* ===== 임시 계측 (측정 끝나면 제거) ===================== */
    static uint8_t  m_init = 0;
    static uint32_t m_n = 0, m_fft_sum = 0, m_win_sum = 0;
    static uint32_t m_fft_max = 0, m_win_max = 0;
    if (!m_init)
    {
      CoreDebug->DEMCR |= CoreDebug_DEMCR_TRCENA_Msk;
      DWT->CYCCNT = 0;
      DWT->CTRL  |= DWT_CTRL_CYCCNTENA_Msk;
      m_init = 1;
    }
    uint32_t m_t_win = DWT->CYCCNT;
    uint32_t m_c_fft = 0;
    /* ====================================================== */

    /* adc_buf is 12-bit unsigned (0~4095); recenter around the 2048 midpoint
     * and scale to roughly -1..1 for the FFT. Also accumulate the raw sum
     * for the DC-level check below (same samples, no extra ADC work). */
    uint32_t adc_sum = 0;
    for (int i = 0; i < FFT_SIZE; i++)
    {
      adc_sum += adc_buf[i];
      input_buf[i] = ((float32_t)adc_buf[i] - 2048.0f) / 2048.0f;
    }
    float32_t raw_avg = (float32_t)adc_sum / FFT_SIZE;

    window_count++;
    if (window_count <= FLAME_SETTLE_WINDOWS)
    {
      continue; /* still settling -- this reading means nothing yet */
    }

    uint32_t m_t_fft = DWT->CYCCNT;
    arm_rfft_fast_f32(&fft_inst, input_buf, output_buf, 0);
    arm_cmplx_mag_f32(output_buf, mag_buf, FFT_SIZE / 2);
    m_c_fft = DWT->CYCCNT - m_t_fft;

    /* Sum magnitude across bins 1~20 (i.e. 1~20Hz) into one "energy" number
     * instead of sending all 20 bins over the wire.
     *
     * energy 는 v1.1 부터 FIRE 프레임에 실려 Qt 대시보드가 그린다. 판정에는
     * 쓰지 않는다 -- 센서가 포화되면 창이 평평해져 AC 성분이 사라지고
     * energy 가 0 이 되므로 단독 신호로 못 쓴다(실측에서 9창 연속 0.0000).
     * 시각화용 텔레메트리로만 남긴다. */
    float32_t energy = 0.0f;
    for (int bin = 1; bin <= 20; bin++)
    {
      energy += mag_buf[bin];
    }

    /* 판정은 DC 절대 임계 하나로 한다. 위 FLAME_RAW_THRESHOLD 주석 참고. */
    uint8_t raw_verdict = (raw_avg >= FLAME_RAW_THRESHOLD) ? 1 : 0;

    /* Slide the vote window: drop the oldest window's vote, add this one's. */
    vote_count -= vote_history[vote_index];
    vote_history[vote_index] = raw_verdict;
    vote_count += raw_verdict;
    vote_index = (vote_index + 1) % FLAME_VOTE_WINDOW;

    /* 히스테리시스: 지금 어느 상태냐에 따라 문턱이 다르다. 위 정의 참고.
     * 부팅 직후에는 flame_last_verdict 가 0 이므로 진입 문턱(4/5)을 쓴다 --
     * 조용한 방에서 켰을 때 곧바로 DETECTED 로 새는 일이 없다. */
    uint8_t debounced_verdict = (flame_last_verdict == 0)
                              ? ((vote_count >= FLAME_VOTE_ENTER) ? 1 : 0)
                              : ((vote_count >= FLAME_VOTE_EXIT)  ? 1 : 0);

    /* 판정 근거를 그대로 노출한다. FLAME_DEBUG_ENERGY 가 0 이면 컴파일에서
     * 통째로 빠진다. baseline 을 없앴으므로 base/delta 자리에는 임계값과
     * 임계 대비 여유를 대신 넣어 로그 형식을 유지한다. */
    /* ===== 임시 계측 출력 (측정 끝나면 제거) =============== */
    {
      uint32_t m_c_win = DWT->CYCCNT - m_t_win;
      m_n++;
      m_fft_sum += m_c_fft;
      m_win_sum += m_c_win;
      if (m_c_fft > m_fft_max) m_fft_max = m_c_fft;
      if (m_c_win > m_win_max) m_win_max = m_c_win;
      if (m_n >= 10u)
      {
        printf("# PERF fft avg=%lu max=%lu cyc (%lu us)"
               " | win avg=%lu max=%lu cyc (%lu us)"
               " | stack_free=%lu w | heap_free=%lu B\r\n",
               (unsigned long)(m_fft_sum / m_n), (unsigned long)m_fft_max,
               (unsigned long)(m_fft_sum / m_n / 84u),
               (unsigned long)(m_win_sum / m_n), (unsigned long)m_win_max,
               (unsigned long)(m_win_sum / m_n / 84u),
               (unsigned long)uxTaskGetStackHighWaterMark(NULL),
               (unsigned long)xPortGetFreeHeapSize());
        m_n = 0; m_fft_sum = 0; m_win_sum = 0; m_fft_max = 0; m_win_max = 0;
      }
    }
    /* ====================================================== */

    SensorProtocol_SendFlameEnergyDebug(raw_avg, FLAME_RAW_THRESHOLD, energy,
                                        raw_avg - FLAME_RAW_THRESHOLD,
                                        raw_verdict, vote_count, debounced_verdict);

    /* Emit only on a confirmed state change: the Pi expects fire as an edge
     * event, not a repeating status line. FlameHeartbeatTimerCallback below
     * covers the separate "is the link even alive" concern on its own 30s
     * cadence. The first window after boot seeds flame_last_verdict
     * without emitting, so a board coming up in a quiet room doesn't
     * announce a redundant CLEARED. */
    /* 하트비트/텔레메트리가 최신 세기를 실어 보낼 수 있도록 매 윈도우
     * 갱신한다. 판정과 무관하게 값 자체는 계속 살아 있어야 한다. */
    flame_last_energy = energy;

    if (!flame_verdict_seeded)
    {
      flame_last_verdict = debounced_verdict;
      flame_verdict_seeded = 1;
    }
    else if (debounced_verdict != flame_last_verdict)
    {
      flame_last_verdict = debounced_verdict;

      SensorEvent_t evt = {
        .type = EVT_FLAME,
        .slot = 0,
        .state = debounced_verdict,
        .energy = energy
      };
      osMessageQueuePut(sensorEventQueueHandle, &evt, 0, 0);
    }
  }
  /* USER CODE END StartTaskFlameSensor */
}

/* USER CODE BEGIN Header_FlameHeartbeatTimerCallback */
/**
* @brief 30s liveness heartbeat, independent of the edge-triggered reports
* in StartTaskFlameSensor above: resends flame_last_verdict so the Pi can
* tell "quiet sensor" apart from "dead link". No-op until
* flame_verdict_seeded is set (i.e. until the boot baseline is ready) so it
* can't leak a bogus verdict before TaskFlameSensor has ever recorded one.
* Runs in the Timer Service Task context (not ISR), so calling
* osMessageQueuePut directly here is safe.
* @param argument: Not used
* @retval None
*/
/* USER CODE END Header_FlameHeartbeatTimerCallback */
static void FlameHeartbeatTimerCallback(void *argument)
{
  /* USER CODE BEGIN FlameHeartbeatTimerCallback */
  (void)argument;

  if (!flame_verdict_seeded)
  {
    return;
  }

  /* 타이머는 SENSOR_FLAME_TELEMETRY_MS(5초) 주기로 돌지만 매번 보내지는
   * 않는다. 연속 스트리밍은 duty 예산을 감당할 수 없다 -- 1초 간격이면
   * 분당 780ms 로 예산 960ms 의 81% 를 화재 하나가 먹는다.
   *
   *   CLEARED (평상시) : SENSOR_HEARTBEAT_MS 마다 한 번. 순수 liveness 신호.
   *   DETECTED (연소중) : 5초마다. 필요한 순간에만 촘촘해진다.
   *
   * 화재는 드문 사건이라 이 비대칭이 duty 에 주는 부담은 실질적으로 없고,
   * Qt 는 정작 봐야 할 때 5초 간격 곡선을 얻는다. */
  static uint32_t tick = 0;
  const uint32_t TICKS_PER_HEARTBEAT =
      SENSOR_HEARTBEAT_MS / SENSOR_FLAME_TELEMETRY_MS;  /* 10초 = 2틱 */

  tick++;
  if ((flame_last_verdict == 0) && (tick < TICKS_PER_HEARTBEAT))
  {
    return;
  }
  tick = 0;

  SensorEvent_t evt = {
    .type = EVT_FLAME,
    .slot = 0,
    .state = flame_last_verdict,
    /* 하트비트/텔레메트리도 최신 energy 를 실어 보낸다. 0 으로 보내면
     * Qt 그래프가 주기적으로 바닥을 찍는 것처럼 보인다. */
    .energy = flame_last_energy
  };
  osMessageQueuePut(sensorEventQueueHandle, &evt, 0, 0);
  /* USER CODE END FlameHeartbeatTimerCallback */
}

void StartTaskHallSensor(void *argument)
{
  /* USER CODE BEGIN StartTaskHallSensor */
  const uint32_t SAMPLE_INTERVAL_MS = 50;  /* same cadence as the old poll loop */
  const uint32_t DEBOUNCE_COUNT = 5;       /* 5 * 50ms = 250ms stable required, unchanged */
  const uint32_t CONFIRM_ITERATIONS = 6;   /* 300ms settle window per wake: enough for one full debounce plus margin */

  /* One GPIO per sensor. The CD4051 mux was dropped after 4-channel bring-up:
   * going through it pinned every channel to OCCUPIED even with no magnet
   * present, while reading D0 directly worked. Index here is slot_index 0~3,
   * which the protocol layer maps to sensor 1~4. HALL1/2/3/4 are on
   * PA8/PB10/PB4/PB5 -- picked so no two share an EXTI line number, see
   * gpio.c. */
  /* 보드에 실제로 달린 개수만 쓴다(SENSOR_HALL_COUNT). 배열에는 핀 4개를
   * 그대로 두되 앞에서부터 잘라 쓰는 방식이라, 홀을 2개로 줄여도 배선은
   * HALL1/HALL2 자리를 그대로 쓰면 된다. */
  GPIO_TypeDef *const hall_port[] = {
    HALL1_D0_GPIO_Port, HALL2_D0_GPIO_Port, HALL3_D0_GPIO_Port, HALL4_D0_GPIO_Port
  };
  const uint16_t hall_pin[] = {
    HALL1_D0_Pin, HALL2_D0_Pin, HALL3_D0_Pin, HALL4_D0_Pin
  };
  _Static_assert(SENSOR_HALL_COUNT <= 4, "핀 정의는 4개까지만 있다");

  /* This used to be a 50ms poll loop that scanned all 4 channels forever
   * and reported all 4 on a fixed 1s tick regardless of change. Now the 4
   * D0 pins are EXTI (both edges, see gpio.c) and HAL_GPIO_EXTI_Callback
   * (main.c) just releases hallEdgeSemHandle -- same "ISR signals, task
   * does the work" shape as TaskFlameSensor's adcBufReadySemHandle.
   * Reporting is also edge-triggered now, same as TaskFlameSensor: only a
   * confirmed change goes out over UART, not a repeating status line. The
   * debounce logic itself (N consecutive matching reads) is unchanged --
   * only the outer drive (always-on tick vs. wake-on-edge) and the report
   * condition (fixed cadence vs. on-change) changed. */

  /* One full scan before ever blocking, seeding both the debounced and the
   * last-reported state without emitting -- same idea as TaskFlameSensor's
   * verdict_seeded boot window, just instantaneous here since there's no
   * ambient signal to average. Without this, a sensor already occupied at
   * boot would never be reported until its next physical transition. */
  for (uint8_t ch = 0; ch < SENSOR_HALL_COUNT; ch++)
  {
    uint8_t raw = (HAL_GPIO_ReadPin(hall_port[ch], hall_pin[ch]) == GPIO_PIN_RESET) ? 1 : 0;
    hall_candidate_state[ch] = raw;
    hall_stable_count[ch] = DEBOUNCE_COUNT;
    hall_debounced_state[ch] = raw;
    hall_last_reported_state[ch] = raw;
  }

  for (;;)
  {
    /* Blocks here until HAL_GPIO_EXTI_Callback signals an edge on any of
     * the 4 hall pins.
     *
     * 다만 쿨다운에 걸려 대기 중인(pending) 채널이 있으면 무한정 기다리면
     * 안 된다. 채터링이 멎어 더 이상 엣지가 안 오면 그 상태 변화가 다음
     * 하트비트까지 묻히기 때문이다. 남은 쿨다운만큼만 기다렸다가
     * 깨어나 밀어낸다. */
    uint32_t wait = osWaitForever;
    for (uint8_t ch = 0; ch < SENSOR_HALL_COUNT; ch++)
    {
      if (!hall_pending[ch]) continue;
      uint32_t elapsed = osKernelGetTickCount() - hall_last_sent_tick[ch];
      uint32_t remain = (elapsed >= SENSOR_HALL_COOLDOWN_MS)
                        ? 1u : (SENSOR_HALL_COOLDOWN_MS - elapsed);
      if ((wait == osWaitForever) || (remain < wait)) wait = remain;
    }
    osSemaphoreAcquire(hallEdgeSemHandle, wait);

    /* 엣지로 깨웠든 쿨다운 만료로 깨웠든, 밀린 것부터 처리한다. */
    for (uint8_t ch = 0; ch < SENSOR_HALL_COUNT; ch++)
    {
      if (hall_pending[ch]) HallEmitIfAllowed(ch);
    }

    for (uint32_t i = 0; i < CONFIRM_ITERATIONS; i++)
    {
      for (uint8_t ch = 0; ch < SENSOR_HALL_COUNT; ch++)
      {
        /* D0 is open-collector: idle (no magnet) floats HIGH via the pull-up,
         * and a magnet trips the comparator which sinks the line LOW. So LOW
         * is OCCUPIED, not HIGH. */
        uint8_t raw = (HAL_GPIO_ReadPin(hall_port[ch], hall_pin[ch]) == GPIO_PIN_RESET) ? 1 : 0;

        /* Debounce: only trust a new value once it's been read the same way
         * DEBOUNCE_COUNT times in a row; any different reading resets the count. */
        if (raw == hall_candidate_state[ch])
        {
          if (hall_stable_count[ch] < DEBOUNCE_COUNT)
          {
            hall_stable_count[ch]++;
          }
        }
        else
        {
          hall_candidate_state[ch] = raw;
          hall_stable_count[ch] = 1;
        }

        if (hall_stable_count[ch] >= DEBOUNCE_COUNT)
        {
          hall_debounced_state[ch] = hall_candidate_state[ch];

          /* Emit only on a confirmed change from what was last put on the
           * wire -- repeated confirmations of the same value (e.g. more
           * iterations in this window, or a later wake with no real
           * change) must not re-send.
           * 쿨다운 판단은 HallEmitIfAllowed() 안에 있다. */
          HallEmitIfAllowed(ch);
        }
      }

      osDelay(SAMPLE_INTERVAL_MS);
    }
  }
  /* USER CODE END StartTaskHallSensor */
}

/* USER CODE BEGIN Header_HallHeartbeatTimerCallback */
/**
* @brief 30s liveness heartbeat, independent of the edge-triggered reports
* in StartTaskHallSensor above: resends whatever hall_debounced_state
* currently holds so the Pi can tell "quiet sensor" apart from "dead
* link". Runs in the Timer Service Task context (not ISR), so calling
* osMessageQueuePut directly here is safe -- same as every other non-ISR
* call site in this file.
* @param argument: Not used
* @retval None
*/
/* USER CODE END Header_HallHeartbeatTimerCallback */
/* 채널 하나의 확정 상태를 내보낼 수 있으면 내보내고, 쿨다운 중이면
 * pending 으로만 남긴다. 상태 자체는 hall_debounced_state 에 이미 최신값이
 * 들어 있으므로, 나중에 보낼 때 자동으로 최신 상태가 나간다(합치기). */
static void HallEmitIfAllowed(uint8_t ch)
{
  if (hall_debounced_state[ch] == hall_last_reported_state[ch])
  {
    hall_pending[ch] = 0;      /* 떨다가 원래 값으로 돌아왔다 -- 보낼 것 없음 */
    return;
  }

  uint32_t now = osKernelGetTickCount();
  if (hall_sent_once[ch] &&
      ((now - hall_last_sent_tick[ch]) < SENSOR_HALL_COOLDOWN_MS))
  {
    hall_pending[ch] = 1;      /* 쿨다운 중. 끝나면 최신 상태로 나간다 */
    return;
  }

  hall_last_reported_state[ch] = hall_debounced_state[ch];
  hall_last_sent_tick[ch] = now;
  hall_sent_once[ch] = 1;
  hall_pending[ch] = 0;

  SensorEvent_t evt = {
    .type = EVT_HALL,
    .slot = ch,
    .state = hall_debounced_state[ch],
    .energy = 0.0f
  };
  osMessageQueuePut(sensorEventQueueHandle, &evt, 0, 0);
}

static void HallHeartbeatTimerCallback(void *argument)
{
  /* USER CODE BEGIN HallHeartbeatTimerCallback */
  (void)argument;

  uint32_t now = osKernelGetTickCount();

  for (uint8_t ch = 0; ch < SENSOR_HALL_COUNT; ch++)
  {
    /* 최근 SENSOR_HEARTBEAT_MS 안에 이미 보낸 채널은 건너뛴다.
     *
     * 하트비트의 목적은 "이 노드가 살아 있다"를 알리는 것뿐인데, 방금
     * 상태를 보낸 채널은 그게 이미 증명돼 있다. 무조건 다 보내면 채터링
     * 중인 채널이 쿨다운 전송과 하트비트를 둘 다 내보낸다.
     *
     * duty 최악 케이스 (홀 2채널 + 화재, 프레임당 약 14ms, 예산 960ms/60초):
     *   홀 채터링      2ch x (60/5초) x 14ms = 336 ms
     *   화재 텔레메트리 (60/5초) x 14ms      = 168 ms
     *   하트비트 (건너뛰기 없을 때)          = 252 ms
     *
     *   건너뛰면  504 ms (예산의 53%)
     *   안 건너뛰면 756 ms (예산의 79%)
     *
     * 수신측이 받는 정보는 어느 쪽이든 같다. 그래서 건너뛴다.
     *
     * ★ 이 창은 하트비트 주기와 반드시 같아야 한다. 더 길면 타이머는
     *   도는데 매번 전부 건너뛰어서 하트비트가 사실상 멈춘다. */
    if (hall_sent_once[ch] && ((now - hall_last_sent_tick[ch]) < SENSOR_HEARTBEAT_MS))
    {
      continue;
    }

    /* Heartbeat should not affect cooldown timestamps (HallEmitIfAllowed). */

    SensorEvent_t evt = {
      .type = EVT_HALL,
      .slot = ch,
      .state = hall_debounced_state[ch],
      .energy = 0.0f
    };
    osMessageQueuePut(sensorEventQueueHandle, &evt, 0, 0);
  }
  /* USER CODE END HallHeartbeatTimerCallback */
}

void StartTaskPacketTX(void *argument)
{
  /* USER CODE BEGIN StartTaskPacketTX */
  /* Sole consumer of sensorEventQueue: turns whatever TaskHallSensor/
   * TaskFlameSensor produced into a UART line and sends it. */
  SensorEvent_t evt;

#if SENSOR_DEBUG_UI
  SensorDashboard_Init();
#endif

  for (;;)
  {
    if (osMessageQueueGet(sensorEventQueueHandle, &evt, NULL, osWaitForever) == osOK)
    {
      switch (evt.type)
      {
        case EVT_HALL:
#if SENSOR_DEBUG_UI
          SensorDashboard_UpdateHall(evt.slot, evt.state);
#else
          SensorProtocol_SendHallStatus(evt.slot, evt.state);
#endif
          break;
        case EVT_FLAME:
#if SENSOR_DEBUG_UI
          SensorDashboard_UpdateFlame(evt.state, evt.energy);
#else
          SensorProtocol_SendFlameStatus(evt.state, evt.energy);

          /* DETECTED 만 몇 번 더 보낸다(EVDA-124). 충돌로 한 번 씹혀도
           * 서버가 화재를 놓치지 않게 하기 위한 것이다. CLEARED 는
           * 하트비트가 다시 알려주므로 재전송하지 않는다.
           *
           * 여기서 osDelay 로 이 태스크가 잠깐 멈춘다. 그 사이 홀 이벤트는
           * 큐에 쌓이는데, 홀 쿨다운이 5초라 400ms 지연은 흡수된다.
           * 화재가 홀보다 우선이라 이 교환은 성립한다. */
          if (evt.state != 0)
          {
            for (uint8_t r = 0; r < SENSOR_FLAME_REPEAT_COUNT; r++)
            {
              osDelay(SENSOR_FLAME_REPEAT_GAP_MS);
              SensorProtocol_ResendLastFlame();
            }
          }
#endif
          break;
      }
    }
  }
  /* USER CODE END StartTaskPacketTX */
}

/* USER CODE BEGIN Header_StartTaskCommandRX */
/**
* @brief Function implementing the TaskCommandRX thread. Blocks on the
* line-ready semaphore AlertCommand_OnByteReceived (main.c, ISR context)
* releases, then parses and acts on one AlertCommand line per wake. See
* alert_command.c/.h.
* @param argument: Not used
* @retval None
*/
/* USER CODE END Header_StartTaskCommandRX */
void StartTaskCommandRX(void *argument)
{
  /* USER CODE BEGIN StartTaskCommandRX */
  (void)argument;
  AlertCommand_Task();
  /* USER CODE END StartTaskCommandRX */
}

/* USER CODE BEGIN Application */
void vApplicationStackOverflowHook(TaskHandle_t xTask, char *pcTaskName)
{
  (void)xTask;

  /* 예전에는 그냥 Error_Handler() 였는데, 그러면 무한 루프에 빠지면서
   * 아무 흔적도 안 남는다. 로그가 뚝 끊긴 것만 보이고 원인은 안 보여서
   * "LoRa 가 안 된다"로 오진하게 된다 -- 실제로 그렇게 반나절을 썼다.
   *
   * printf 는 쓰지 않는다. 지금은 스택이 이미 망가진 상태라 그 자체가
   * 위험하다. HAL 로 고정 문자열만 직접 밀어낸다. */
  const char *msg = "\r\n!!! STACK OVERFLOW: ";
  HAL_UART_Transmit(&huart2, (uint8_t *)msg, (uint16_t)strlen(msg), 100);
  if (pcTaskName)
  {
    HAL_UART_Transmit(&huart2, (uint8_t *)pcTaskName,
                      (uint16_t)strlen(pcTaskName), 100);
  }
  msg = " -- 해당 태스크의 stack_size 를 키울 것\r\n";
  HAL_UART_Transmit(&huart2, (uint8_t *)msg, (uint16_t)strlen(msg), 100);

  /* LD2 빠른 깜빡임으로도 알린다. 콘솔을 안 보고 있어도 눈에 띈다. */
  for (;;)
  {
    HAL_GPIO_TogglePin(LD2_GPIO_Port, LD2_Pin);
    HAL_Delay(80);
  }
}
/* USER CODE END Application */
